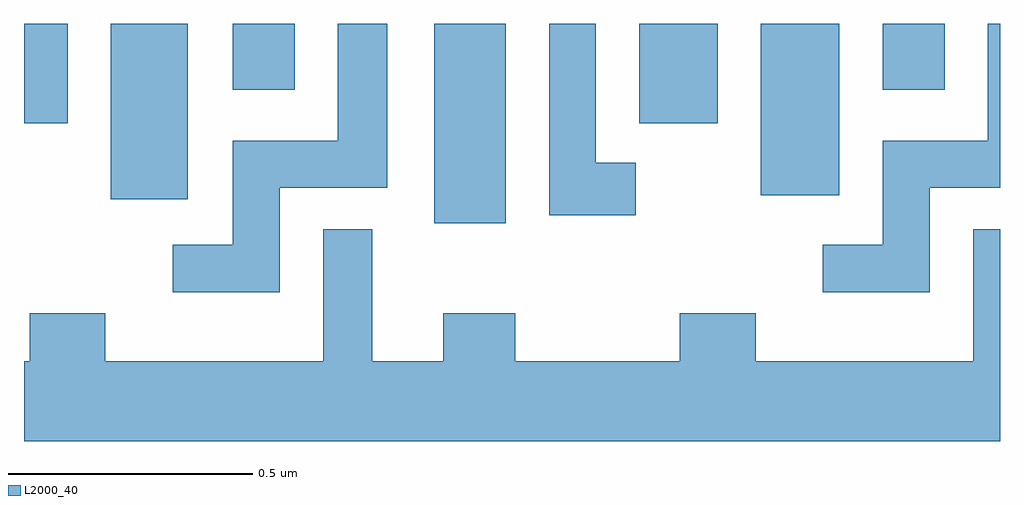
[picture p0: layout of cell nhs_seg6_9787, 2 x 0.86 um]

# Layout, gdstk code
import gdstk
lib = gdstk.Library(unit=1e-6, precision=1e-09)
def R(c, l, rs):  # rectangles x0, y0, x1, y1
    for r in rs: c.add(gdstk.rectangle(r[:2], r[2:], *l))
def P(c, l, *ps):  # polygons
    for p in ps: c.add(gdstk.Polygon(p, *l))
L2000_40 = (2000, 40)

nhs_seg6_9787 = lib.new_cell('nhs_seg6_9787')
R(nhs_seg6_9787, L2000_40, [(238.841,973.091,238.987,973.5), (238.178,973.14,238.336,973.5), (239.51,973.148,239.671,973.5), (238,973.296,238.09,973.5), (239.261,973.296,239.422,973.5), (238.428,973.365,238.555,973.5), (239.76,973.365,239.887,973.5)])
P(nhs_seg6_9787, L2000_40, [(239.856,973.164),(240,973.164),(240,973.5),(239.975,973.5),(239.975,973.26),(239.76,973.26),(239.76,973.047),(239.637,973.047),(239.637,972.95),(239.856,972.95)],
  [(239.254,973.215),(239.172,973.215),(239.172,973.5),(239.076,973.5),(239.076,973.107),(239.254,973.107)],
  [(238.524,973.164),(238.744,973.164),(238.744,973.5),(238.643,973.5),(238.643,973.26),(238.428,973.26),(238.428,973.047),(238.305,973.047),(238.305,972.95),(238.524,972.95)],
  [(240,973.079),(239.945,973.079),(239.945,972.808),(239.499,972.808),(239.499,972.907),(239.344,972.907),(239.344,972.808),(239.007,972.808),(239.007,972.907),(238.859,972.907),(238.859,972.808),(238.714,972.808),(238.714,973.079),(238.613,973.079),(238.613,972.808),(238.167,972.808),(238.167,972.907),(238.012,972.907),(238.012,972.808),(238,972.808),(238,972.644),(240,972.644)])

lib.write_gds('nhs_seg6_9787.gds')
